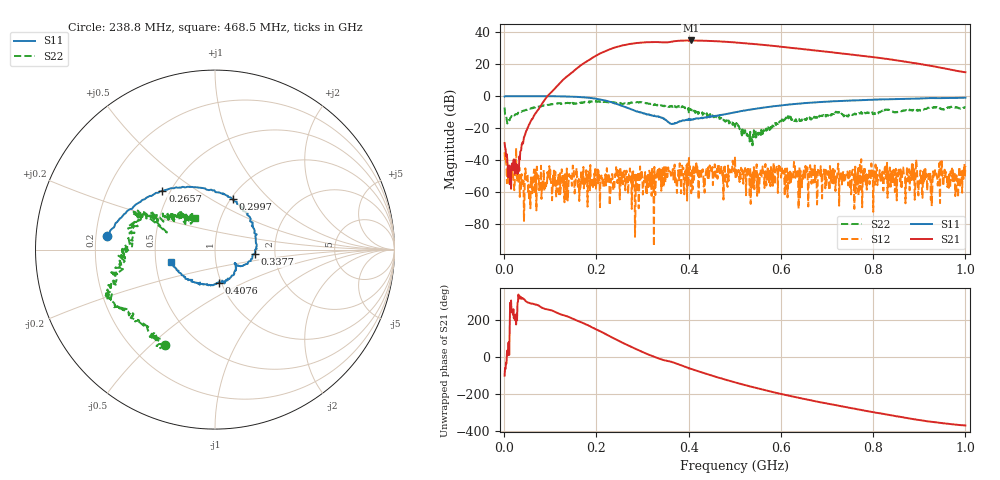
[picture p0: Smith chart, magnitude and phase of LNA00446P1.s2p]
! Created with skrf 1.9.0 (http://scikit-rf.org).
# Hz S RI R 50.0
!freq ReS11 ImS11 ReS21 ImS21 ReS12 ImS12 ReS22 ImS22
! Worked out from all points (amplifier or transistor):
!   1001 points, 1 MHz to 1 GHz, reference 50 ohm
!   highest |S21| = 35.0 dB at 404.6 MHz (marker M1)
!   |S21| within 3 dB of that: 259.1 MHz to 569.1 MHz (310 MHz wide, 74.9 % of centre)
!   unconditionally stable (mu >= 1): 26.51 MHz to 57.88 MHz; 251.9 MHz to 294.7 MHz; 294.7 MHz to end of sweep (the widest 3 of 33)
!   at 166.8 MHz: K = 0.67, MSG = 33.6 dB, |S12| = -47.8 dB
!   at 500.5 MHz: K = 1.04, MAG = 34.7 dB, |S12| = -38.0 dB
!   at 1 GHz: K = 1.74, MAG = 24.4 dB, |S12| = -43.8 dB
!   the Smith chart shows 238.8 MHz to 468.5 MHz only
!   S11 on the Smith chart (normalised r, x): 238.8 MHz: 0.25, +0.06; 265.7 MHz: 0.45, +0.37; 299.7 MHz: 1.02, +0.63; 337.7 MHz: 1.56, -0.08; 407.6 MHz: 0.97, -0.37; 468.5 MHz: 0.60, -0.09
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1000000  0.9783 0.0141  -0.00783 -0.0331  -0.00567 0.0164  0.3216 0.3005
1.08892e8  0.5286 -0.8442  -0.7576 -1.499  -0.000807 0.00139  0.4334 -0.3771
1.67833e8  -0.2205 -0.9067  -9.673 -0.7675  0.00182 0.00123  0.0582 -0.6355
2.08792e8  -0.6597 -0.4226  -15.9 15.47  0.00167 -0.0024  -0.1999 -0.6374
2.38762e8  -0.6 0.0769  -4.03 33.1  0.000936 0.00101  -0.2782 -0.529
2.65735e8  -0.2927 0.3268  18.45 37.11  -0.0038 -0.00249  -0.4651 -0.3729
2.99701e8  0.0996 0.2818  43.94 20.44  -0.000733 0.00285  -0.5845 -0.235
3.18682e8  0.209 0.1455  49.92 4.751  -0.0019 0.00205  -0.5503 -0.1357
3.34666e8  0.2324 0.0045  49.08 -8.902  -0.00294 0.00395  -0.5039 -0.0408
3.37663e8  0.2203 -0.0235  48.32 -10.95  0.00113 0.0032  -0.5006 -0.0491
3.72628e8  0.117 -0.0854  43.16 -32.35  -0.00156 0.00197  -0.4432 0.153
4.04596e8  0.0429 -0.1825  22.47 -51.48  -0.000605 0.00375  -0.339 0.1961
4.07593e8  0.0206 -0.184  20.42 -52.05  0.00472 9.89e-05  -0.3176 0.1592
4.36564e8  -0.1193 -0.1799  -2.421 -54.78  0.00201 0.00231  -0.1865 0.2026
4.68532e8  -0.2457 -0.0707  -23.7 -46.68  0.00412 0.00183  -0.1126 0.1756
5.005e8  -0.296 0.1061  -37.33 -31.65  0.0117 -0.00465  -0.0836 0.0682
5.4046e8  -0.2419 0.3087  -42.2 -10.39  0.00361 -0.00221  -0.0499 0.0125
5.88412e8  -0.0565 0.487  -35.91 10.09  0.00448 -0.00119  -0.1086 -0.0771
6.67333e8  0.3164 0.5425  -14.68 23.54  0.00333 -0.00387  -0.1858 -0.0597
7.55245e8  0.6305 0.3756  3.407 19.74  -0.00333 -0.00342  -0.2538 -0.012
8.34166e8  0.7854 0.1489  10.31 10.18  -0.0014 0.000303  -0.3668 -0.0127
1e9  0.8197 -0.373  5.511 -1.219  -0.00213 0.00607  -0.3452 0.2747
